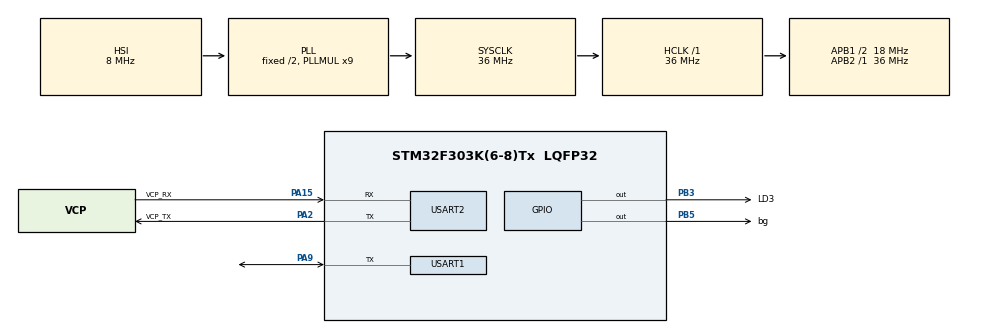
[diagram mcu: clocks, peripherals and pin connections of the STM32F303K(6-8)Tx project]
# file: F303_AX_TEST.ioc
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Mcu.Family=STM32F3
Mcu.Name=STM32F303K(6-8)Tx
Mcu.Package=LQFP32
NVIC.PriorityGroup=NVIC_PRIORITYGROUP_4
NVIC.TIM2_IRQn=true\:0\:0\:false\:false\:true\:true\:true\:true
PA13.GPIO_Label=SWDIO
PA13.Mode=Serial_Wire
PA13.Signal=SYS_JTMS-SWDIO
PA14.GPIO_Label=SWCLK
PA14.Mode=Serial_Wire
PA14.Signal=SYS_JTCK-SWCLK
PA15.GPIO_Label=VCP_RX
PA15.Mode=Asynchronous
PA15.Signal=USART2_RX
PA2.GPIO_Label=VCP_TX
PA2.Mode=Asynchronous
PA2.Signal=USART2_TX
PA9.Mode=Half_duplex(single_wire_mode)
PA9.Signal=USART1_TX
PB3.GPIO_Label=LD3
PB3.Signal=GPIO_Output
PB5.GPIO_Label=bg
PB5.Signal=GPIO_Output
PF0\ /\ OSC_IN.GPIO_Label=MCO
PF0\ /\ OSC_IN.Mode=HSE-External-Clock-Source
PF0\ /\ OSC_IN.Signal=RCC_OSC_IN
ProjectManager.HeapSize=0x200
ProjectManager.StackSize=0x400
ProjectManager.TargetToolchain=STM32CubeIDE
RCC.AHBFreq_Value=36000000
RCC.APB1CLKDivider=RCC_HCLK_DIV2
RCC.APB1Freq_Value=18000000
RCC.APB1TimFreq_Value=36000000
RCC.APB2Freq_Value=36000000
RCC.APB2TimFreq_Value=36000000
RCC.CortexFreq_Value=36000000
RCC.HCLKFreq_Value=36000000
RCC.HSE_VALUE=8000000
RCC.HSI_VALUE=8000000
RCC.PLLMUL=RCC_PLL_MUL9
RCC.SYSCLKFreq_VALUE=36000000
RCC.SYSCLKSourceVirtual=RCC_SYSCLKSOURCE_PLLCLK
TIM2.AutoReloadPreload=TIM_AUTORELOAD_PRELOAD_ENABLE
TIM2.Period=1000-1
TIM2.Prescaler=18000-1
USART1.BaudRate=250000
USART1.VirtualMode-Half_duplex(single_wire_mode)=VM_ASYNC
USART2.VirtualMode-Asynchronous=VM_ASYNC
VP_TIM2_VS_ClockSourceINT.Mode=Internal
board=NUCLEO-F303K8

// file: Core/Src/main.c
/* USER CODE BEGIN Header */
/**
  ******************************************************************************
  * @file           : main.c
  * @brief          : Main program body
  ******************************************************************************
  * @attention
  *
  * Copyright (c) 2022 STMicroelectronics.
  * All rights reserved.
  *
  * This software is licensed under terms that can be found in the LICENSE file
  * in the root directory of this software component.
  * If no LICENSE file comes with this software, it is provided AS-IS.
  *
  ******************************************************************************
  */
/* USER CODE END Header */
#include "main.h"
#include "tim.h"
#include "usart.h"
#include "gpio.h"

/* USER CODE BEGIN Includes */
#include "AX12.h"
/* USER CODE END Includes */

void SystemClock_Config(void);

int main(void)
{

  /* MCU Configuration--------------------------------------------------------*/

  /* Reset of all peripherals, Initializes the Flash interface and the Systick. */
  HAL_Init();

  /* Configure the system clock */
  SystemClock_Config();

  /* Initialize all configured peripherals */

  MX_USART2_UART_Init();
  MX_USART1_UART_Init();
  MX_TIM2_Init();
  /* USER CODE BEGIN 2 */
  HAL_TIM_Base_Start_IT(&htim2);

  AX12 ax12;
  AX12_Init(&ax12, &huart1, 1, BR_250K);
 // AX12_pingModule(&ax12);
  AX12_LED_O_N(&ax12, 1);
  AX12_setMovingSpeed(&ax12, 5);
  AX12_setRangeAngle(&ax12, 0, 180);

  AX12 ax121;
  AX12_Init(&ax121, &huart1, 7, BR_250K);
  //AX12_pingModule(&ax121);
  AX12_LED_O_N(&ax121, 7);
  AX12_setMovingSpeed(&ax121, 10);
  AX12_setRangeAngle(&ax121, 0, 180);

  AX12 ax141;
  AX12_Init(&ax141, &huart1, 4, BR_250K);
  //AX12_pingModule(&ax141);
  AX12_LED_O_N(&ax141, 4);
  AX12_setMovingSpeed(&ax141, 100);
  AX12_setRangeAngle(&ax141, 0, 180);
  /* USER CODE END 2 */

  /* Infinite loop */
  /* USER CODE BEGIN WHILE */
  while (1)
  {

	  AX12_setPosition(&ax121, 20);
	  HAL_Delay(1000);
	  AX12_setPosition(&ax121, 50);
	  HAL_Delay(1000);

    /* USER CODE END WHILE */

  }
}

void SystemClock_Config(void)
{
  RCC_OscInitTypeDef RCC_OscInitStruct = {0};
  RCC_ClkInitTypeDef RCC_ClkInitStruct = {0};
  RCC_PeriphCLKInitTypeDef PeriphClkInit = {0};

  /** Initializes the RCC Oscillators according to the specified parameters
  * in the RCC_OscInitTypeDef structure.
  */
  RCC_OscInitStruct.OscillatorType = RCC_OSCILLATORTYPE_HSI;
  RCC_OscInitStruct.HSIState = RCC_HSI_ON;
  RCC_OscInitStruct.HSICalibrationValue = RCC_HSICALIBRATION_DEFAULT;
  RCC_OscInitStruct.PLL.PLLState = RCC_PLL_ON;
  RCC_OscInitStruct.PLL.PLLSource = RCC_PLLSOURCE_HSI;
  RCC_OscInitStruct.PLL.PLLMUL = RCC_PLL_MUL9;
  if (HAL_RCC_OscConfig(&RCC_OscInitStruct) != HAL_OK)
  {
    Error_Handler();
  }

  /** Initializes the CPU, AHB and APB buses clocks
  */
  RCC_ClkInitStruct.ClockType = RCC_CLOCKTYPE_HCLK|RCC_CLOCKTYPE_SYSCLK
                              |RCC_CLOCKTYPE_PCLK1|RCC_CLOCKTYPE_PCLK2;
  RCC_ClkInitStruct.SYSCLKSource = RCC_SYSCLKSOURCE_PLLCLK;
  RCC_ClkInitStruct.AHBCLKDivider = RCC_SYSCLK_DIV1;
  RCC_ClkInitStruct.APB1CLKDivider = RCC_HCLK_DIV2;
  RCC_ClkInitStruct.APB2CLKDivider = RCC_HCLK_DIV1;

  if (HAL_RCC_ClockConfig(&RCC_ClkInitStruct, FLASH_LATENCY_1) != HAL_OK)
  {
    Error_Handler();
  }
  PeriphClkInit.PeriphClockSelection = RCC_PERIPHCLK_USART1;
  PeriphClkInit.Usart1ClockSelection = RCC_USART1CLKSOURCE_PCLK1;
  if (HAL_RCCEx_PeriphCLKConfig(&PeriphClkInit) != HAL_OK)
  {
    Error_Handler();
  }
}

void Error_Handler(void)
{
  __disable_irq();
  while (1)
  {
  }
}
